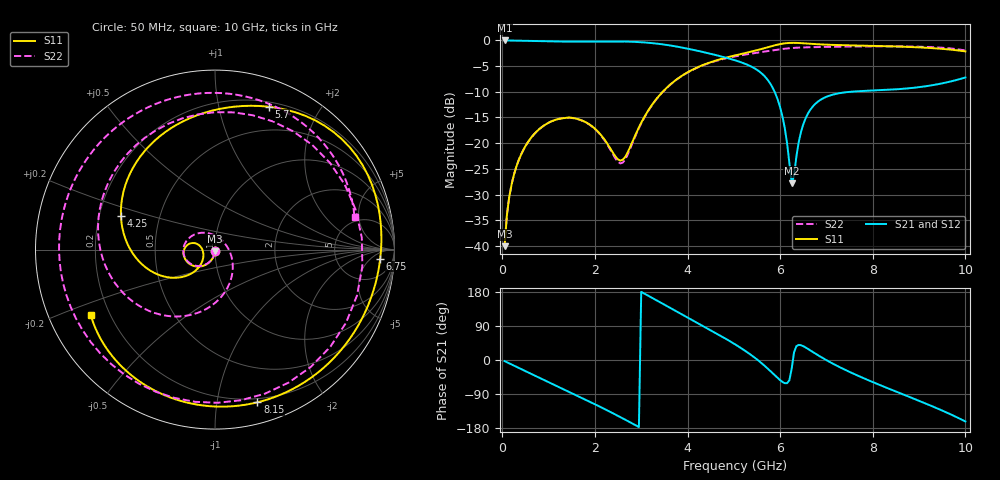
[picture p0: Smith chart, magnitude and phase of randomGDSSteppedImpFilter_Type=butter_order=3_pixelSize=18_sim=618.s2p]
! freq	dB(S11)	phase(S11)	dB(S12)	phase(S12)
!  dB(S21)	phase(S21)	dB(S22)	phase(S22)
!S-par simulation data
#  GHz  S  DB  R 50
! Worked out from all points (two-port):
!   200 points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, 50 MHz to 10 GHz, reference 50 ohm
!   highest |S21| = 0.00 dB at 50 MHz (marker M1); lowest = -27.8 dB at 6.25 GHz (marker M2)
!   |S21| within 3 dB of the highest: start of sweep to 4.68 GHz
!   lowest |S11| = -40.1 dB at 50 MHz (marker M3), VSWR 1.02, Z = 49.9 - j0.992 ohm
!   |S11| at or under -10 dB: start of sweep to 3.463 GHz
!   |S22| runs from -39.9 to -1.1 dB; largest |S21 - S12| = 0
!   S11 on the Smith chart (normalised r, x): 50 MHz: 1.00, -0.02; 4.25 GHz: 0.29, +0.16; 5.7 GHz: 0.25, +1.41; 6.75 GHz: 17, -11; 8.15 GHz: 0.17, -1.30; 10 GHz: 0.13, -0.24
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0.05  -40.05 -92.7  -0.00 -3.0  -0.00 -3.0  -39.86 -93.2
0.2  -28.06 -102.3  -0.02 -11.8  -0.02 -11.8  -28.03 -102.6
0.55  -19.84 -122.4  -0.08 -32.3  -0.08 -32.3  -19.86 -123.6
1.15  -15.45 -155.7  -0.20 -67.0  -0.20 -67.0  -15.44 -159.8
1.75  -15.69 174.4  -0.23 -101.8  -0.23 -101.8  -15.72 160.7
2.6  -23.24 -160.4  -0.21 -154.0  -0.21 -154.0  -23.80 30.2
3  -16.03 -132.8  -0.34 179.8  -0.34 179.8  -16.16 -51.0
3.4  -10.62 -148.0  -0.69 152.8  -0.69 152.8  -10.67 -88.9
4.25  -5.09 160.4  -2.08 95.5  -2.08 95.5  -5.14 -151.0
5.05  -2.86 110.0  -3.93 39.6  -3.93 39.6  -3.07 147.5
5.4  -2.12 88.4  -5.19 10.8  -5.19 10.8  -2.53 110.4
5.7  -1.41 69.4  -7.33 -19.2  -7.33 -19.2  -2.12 65.7
6  -0.71 48.4  -13.02 -53.3  -13.02 -53.3  -1.72 4.7
6.25  -0.47 29.7  -27.82 -22.1  -27.82 -22.1  -1.47 -50.8
6.45  -0.52 15.7  -17.82 39.0  -17.82 39.0  -1.37 -89.0
6.7  -0.68 -0.2  -12.92 21.6  -12.92 21.6  -1.31 -126.0
6.75  -0.71 -3.1  -12.43 17.7  -12.43 17.7  -1.30 -132.2
7.3  -0.91 -33.3  -10.24 -19.8  -10.24 -19.8  -1.21 176.6
8.15  -1.08 -74.5  -9.69 -65.9  -9.69 -65.9  -1.15 123.3
8.35  -1.13 -83.4  -9.60 -75.8  -9.60 -75.8  -1.15 112.2
9.2  -1.45 -119.5  -8.84 -117.8  -8.84 -117.8  -1.28 65.0
10  -2.13 -152.2  -7.22 -162.3  -7.22 -162.3  -1.96 13.0
